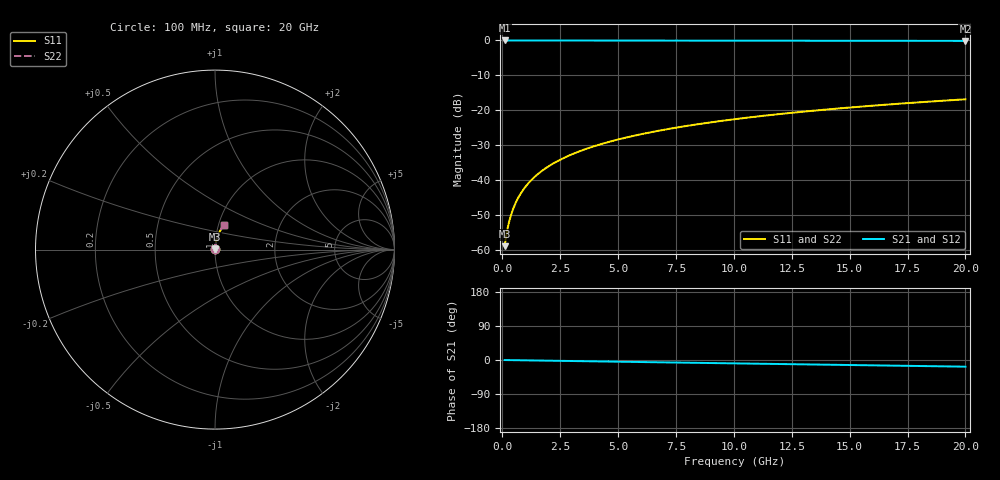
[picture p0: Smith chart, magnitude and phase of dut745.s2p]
! Touchstone file exported from HFSS 2026.1.0
!  File:  C:/ffzhzh/LocalFiles/Ansys_Project_Files/temp_train_BSMRDL_745_1783168751_43440.aedt
!  Generated:  08:40:19 PM Jul  4, 2026
!  Design:  BSMRDL
!  Project:  temp_train_BSMRDL_745_1783168751_43440
! Variables:
!  h_bsmrdl = 5.97um
!  h_ox = 20um
!  h_rdl = 5um
!  h_sub = 80um
!  h_tmrdl = 5um
!  h_tsv = 80um
!  h_via = 3um
!  l_bsmrdl = 246.13um
!  l_sub = 646.13um
!  l_tmrdl = 200um
!  m_sub = 200um
!  pitch = 48.8um
!  r_tsv = 6um
!  s_tmrdl = 10um
!  w_bsmrdl = 26.37um
!  w_sub = 500um
!  w_tmrdl = 12um
!  x_tsv_center1 = 206um
!  x_tsv_center2 = 478.5um
!  x_tsv_center3 = 690.5um
!  x_tsv_center4 = 963um
!  x_tsv_center5 = 1175um
!  x_tsv_center6 = 1447.5um
# GHz S MA R 50.000000
! Terminal data exported
! Port[1] = BSM_RDL1_1_T1
! Port[2] = BSM_RDL1_1_T2
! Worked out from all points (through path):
!   200 points, 100 MHz to 20 GHz, reference 50 ohm
!   highest |S21| = -0.01 dB at 100 MHz (marker M1); lowest = -0.1 dB at 20 GHz (marker M2)
!   group delay of S21, straight-line fit = 2.44 ps
!   lowest |S11| = -59.0 dB at 100 MHz (marker M3), VSWR 1.00, Z = 50.1 + j0.0873 ohm
!   |S11| at or under -10 dB: start of sweep to end of sweep
!   |S22| runs from -59.0 to -16.9 dB; largest |S21 - S12| = 2.3e-15
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0.1  0.001127 50.7  0.9993 -0.1  0.9993 -0.1  0.001127 50.7
! Gamma 0 0 0 0
! Port Impedance 50 0 50 0
0.2  0.001831 65.0  0.9992 -0.2  0.9992 -0.2  0.001831 65.0
0.3  0.002568 71.7  0.9992 -0.3  0.9992 -0.3  0.002568 71.7
0.4  0.003326 75.4  0.9991 -0.4  0.9991 -0.4  0.003326 75.4
0.5  0.004096 77.8  0.9991 -0.5  0.9991 -0.5  0.004096 77.8
0.7  0.005651 80.5  0.999 -0.6  0.999 -0.6  0.005651 80.5
0.8  0.006432 81.3  0.999 -0.7  0.999 -0.7  0.006432 81.3
1  0.007994 82.3  0.999 -0.9  0.999 -0.9  0.007994 82.3
1.2  0.009554 82.9  0.9989 -1.1  0.9989 -1.1  0.009554 82.9
1.4  0.01111 83.3  0.9988 -1.3  0.9988 -1.3  0.01111 83.3
1.7  0.01343 83.5  0.9987 -1.6  0.9987 -1.6  0.01343 83.5
2  0.01573 83.6  0.9986 -1.8  0.9986 -1.8  0.01573 83.6
2.7  0.02104 83.4  0.9982 -2.5  0.9982 -2.5  0.02104 83.4
3.5  0.02702 83.0  0.9978 -3.2  0.9978 -3.2  0.02702 83.0
4.2  0.03219 82.6  0.9975 -3.8  0.9975 -3.8  0.03219 82.6
5  0.03806 82.1  0.997 -4.5  0.997 -4.5  0.03806 82.1
6.8  0.05115 80.9  0.996 -6.1  0.996 -6.1  0.05115 80.9
8.3  0.06197 79.8  0.9951 -7.4  0.9951 -7.4  0.06197 79.8
10.1  0.07486 78.5  0.9939 -9.0  0.9939 -9.0  0.07486 78.5
13.4  0.09816 75.9  0.9914 -11.9  0.9914 -11.9  0.09816 75.9
16.7  0.121 73.2  0.9884 -14.7  0.9884 -14.7  0.121 73.2
20  0.1434 70.6  0.985 -17.6  0.985 -17.6  0.1433 70.6
